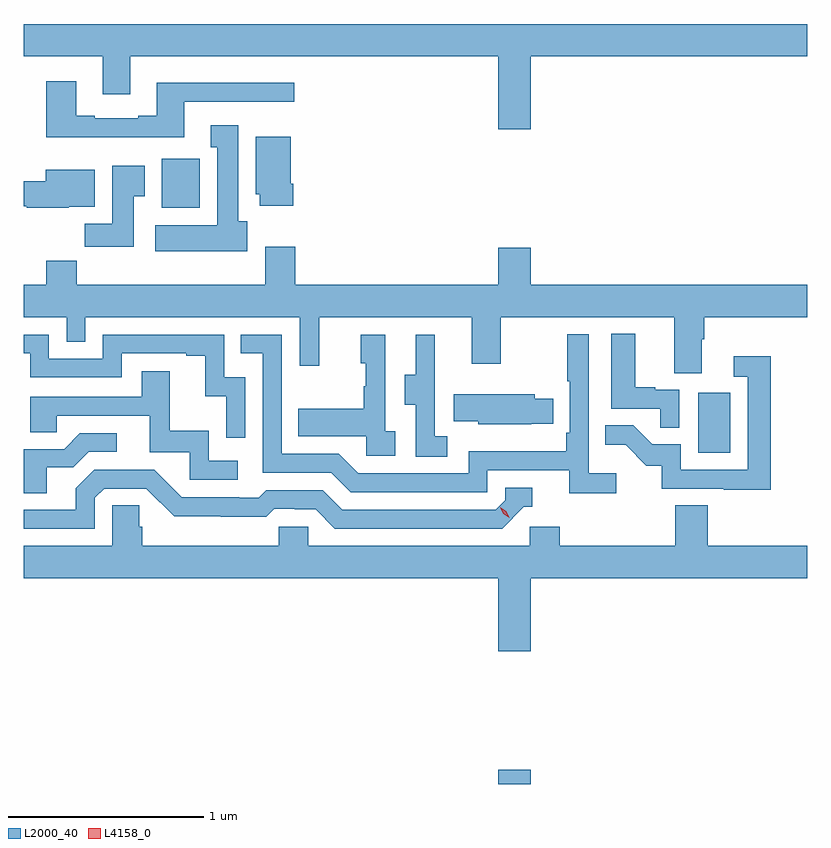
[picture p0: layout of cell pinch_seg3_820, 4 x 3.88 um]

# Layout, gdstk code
import gdstk
lib = gdstk.Library(unit=1e-6, precision=1e-09)
def R(c, l, rs):  # rectangles x0, y0, x1, y1
    for r in rs: c.add(gdstk.rectangle(r[:2], r[2:], *l))
def P(c, l, *ps):  # polygons
    for p in ps: c.add(gdstk.Polygon(p, *l))
L2000_40 = (2000, 40)
L4158_0 = (4158, 0)

pinch_seg3_820 = lib.new_cell('pinch_seg3_820')
R(pinch_seg3_820, L2000_40, [(872.3,721.177,872.464,721.249), (873.32,722.868,873.484,723.175), (870.581,724.118,870.777,724.369)])
P(pinch_seg3_820, L2000_40, [(872.464,724.892),(873.877,724.892),(873.877,725.056),(869.877,725.056),(869.877,724.892),(870.281,724.892),(870.281,724.698),(870.421,724.698),(870.421,724.892),(872.3,724.892),(872.3,724.518),(872.464,724.518)],
  [(870.697,724.659),(871.258,724.659),(871.258,724.756),(870.557,724.756),(870.557,724.588),(870.461,724.588),(870.461,724.575),(870.241,724.575),(870.241,724.588),(870.145,724.588),(870.145,724.765),(869.993,724.765),(869.993,724.478),(870.697,724.478)],
  [(871.018,724.05),(870.973,724.05),(870.973,724.54),(870.833,724.54),(870.833,724.427),(870.866,724.427),(870.866,724.03),(870.549,724.03),(870.549,723.896),(871.018,723.896)],
  [(871.253,724.24),(871.24,724.24),(871.24,724.48),(871.061,724.48),(871.061,724.188),(871.082,724.188),(871.082,724.128),(871.253,724.128)],
  [(870.439,724.177),(870.496,724.177),(870.496,724.333),(870.329,724.333),(870.329,724.036),(870.19,724.036),(870.19,723.918),(870.439,723.918)],
  [(870.108,724.124),(870.241,724.124),(870.241,724.312),(869.99,724.312),(869.99,724.253),(869.877,724.253),(869.877,724.125),(869.894,724.125),(869.894,724.118),(870.108,724.118)],
  [(873.337,723.448),(873.35,723.448),(873.35,723.56),(873.877,723.56),(873.877,723.724),(872.464,723.724),(872.464,723.913),(872.3,723.913),(872.3,723.724),(871.262,723.724),(871.262,723.919),(871.109,723.919),(871.109,723.724),(870.149,723.724),(870.149,723.848),(869.993,723.848),(869.993,723.724),(869.877,723.724),(869.877,723.56),(870.096,723.56),(870.096,723.433),(870.192,723.433),(870.192,723.56),(871.287,723.56),(871.287,723.312),(871.385,723.312),(871.385,723.56),(872.165,723.56),(872.165,723.321),(872.313,723.321),(872.313,723.56),(873.197,723.56),(873.197,723.274),(873.337,723.274)],
  [(873.222,723.189),(873.101,723.189),(873.101,723.202),(872.998,723.202),(872.998,723.475),(872.876,723.475),(872.876,723.093),(873.127,723.093),(873.127,722.995),(873.222,722.995)],
  [(872.902,722.764),(872.76,722.764),(872.76,723.472),(872.652,723.472),(872.652,723.232),(872.664,723.232),(872.664,722.971),(872.647,722.971),(872.647,722.875),(872.148,722.875),(872.148,722.763),(871.584,722.763),(871.485,722.862),(871.194,722.862),(871.194,723.471),(870.985,723.471),(870.985,723.375),(871.098,723.375),(871.098,722.766),(871.448,722.766),(871.547,722.667),(872.244,722.667),(872.244,722.778),(872.663,722.778),(872.663,722.662),(872.902,722.662)],
  [(871.008,723.252),(870.9,723.252),(870.9,723.471),(870.282,723.471),(870.282,723.348),(870.006,723.348),(870.006,723.471),(869.877,723.471),(869.877,723.375),(869.91,723.375),(869.91,723.252),(870.378,723.252),(870.378,723.375),(870.707,723.375),(870.707,723.363),(870.803,723.363),(870.803,723.155),(870.912,723.155),(870.912,722.943),(871.008,722.943)],
  [(871.774,722.978),(871.722,722.978),(871.722,723.469),(871.598,723.469),(871.598,723.324),(871.624,723.324),(871.624,723.206),(871.614,723.206),(871.614,723.091),(871.279,723.091),(871.279,722.951),(871.626,722.951),(871.626,722.853),(871.774,722.853)],
  [(872.038,722.951),(871.974,722.951),(871.974,723.255),(871.976,723.255),(871.976,723.469),(871.877,723.469),(871.877,723.267),(871.823,723.267),(871.823,723.112),(871.878,723.112),(871.878,722.848),(872.038,722.848)],
  [(873.689,723.361),(873.501,723.361),(873.501,723.255),(873.573,723.255),(873.573,722.781),(873.231,722.781),(873.231,722.91),(873.086,722.91),(872.988,723.008),(872.845,723.008),(872.845,722.909),(872.949,722.909),(873.056,722.802),(873.133,722.802),(873.133,722.685),(873.451,722.685),(873.451,722.68),(873.689,722.68)],
  [(870.97,722.826),(870.822,722.826),(870.822,722.98),(870.623,722.98),(870.623,723.283),(870.479,723.283),(870.479,723.153),(869.91,723.153),(869.91,722.973),(870.047,722.973),(870.047,723.057),(870.521,723.057),(870.521,722.871),(870.726,722.871),(870.726,722.73),(870.97,722.73)],
  [(872.468,723.015),(872.579,723.015),(872.579,723.144),(872.485,723.144),(872.485,723.166),(872.071,723.166),(872.071,723.029),(872.196,723.029),(872.196,723.014),(872.468,723.014)],
  [(869.995,722.794),(870.13,722.794),(870.21,722.874),(870.352,722.874),(870.352,722.967),(870.164,722.967),(870.083,722.886),(869.877,722.886),(869.877,722.662),(869.995,722.662)],
  [(870.24,722.637),(870.288,722.685),(870.504,722.685),(870.646,722.543),(870.882,722.543),(870.882,722.541),(871.115,722.541),(871.157,722.583),(871.26,722.583),(871.26,722.58),(871.367,722.58),(871.466,722.481),(872.319,722.481),(872.43,722.592),(872.473,722.592),(872.473,722.688),(872.334,722.688),(872.334,722.625),(872.286,722.577),(871.503,722.577),(871.404,722.676),(871.115,722.676),(871.076,722.637),(870.977,722.637),(870.977,722.64),(870.684,722.64),(870.543,722.781),(870.237,722.781),(870.143,722.687),(870.143,722.577),(869.877,722.577),(869.877,722.481),(870.24,722.481)],
  [(872.464,722.228),(873.877,722.228),(873.877,722.392),(873.368,722.392),(873.368,722.6),(873.203,722.6),(873.203,722.392),(872.612,722.392),(872.612,722.49),(872.46,722.49),(872.46,722.392),(871.329,722.392),(871.329,722.49),(871.179,722.49),(871.179,722.392),(870.482,722.392),(870.482,722.49),(870.467,722.49),(870.467,722.6),(870.33,722.6),(870.33,722.392),(869.877,722.392),(869.877,722.228),(872.3,722.228),(872.3,721.854),(872.464,721.854)])
P(pinch_seg3_820, L4158_0, [(872.355,722.537),(872.325,722.557),(872.309,722.59),(872.309,722.59),(872.31,722.59),(872.34,722.57),(872.355,722.538),(872.355,722.537)])

lib.write_gds('pinch_seg3_820.gds')
